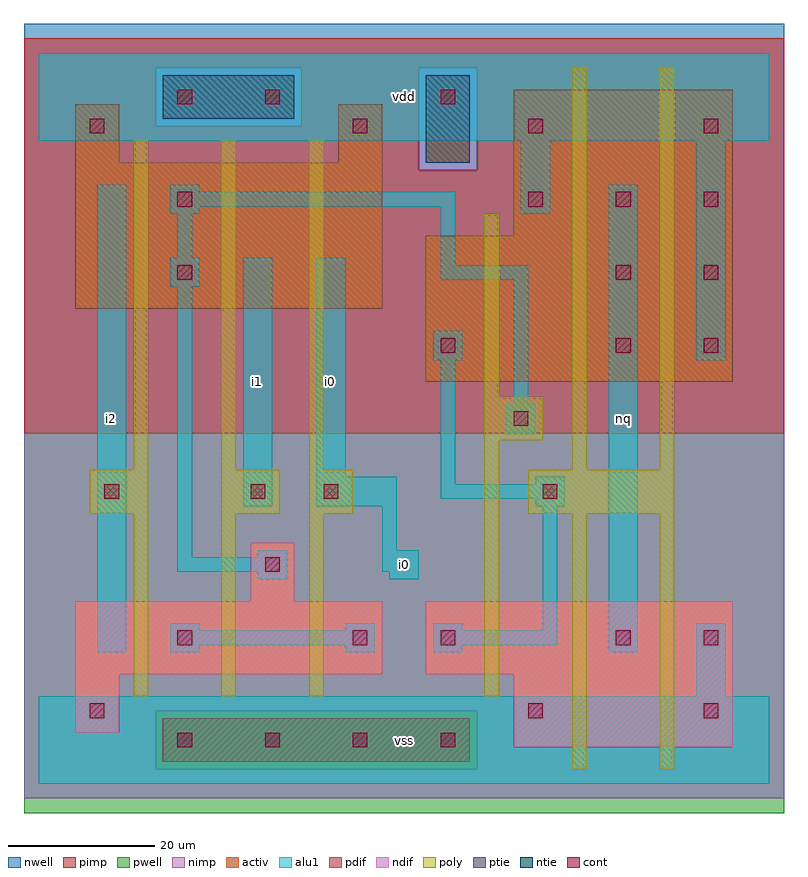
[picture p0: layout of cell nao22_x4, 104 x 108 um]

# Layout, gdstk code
import gdstk
lib = gdstk.Library(unit=1e-6, precision=1e-09)
def R(c, l, rs):  # rectangles x0, y0, x1, y1
    for r in rs: c.add(gdstk.rectangle(r[:2], r[2:], *l))
def A(c, l, x, y, w, h, nx, ny, dx, dy):  # array of equal rectangles
    R(c, l, [(x+i*dx, y+j*dy, x+i*dx+w, y+j*dy+h) for i in range(nx) for j in range(ny)])
ndif = (3, 0)
pdif = (4, 0)
ntie = (5, 0)
ptie = (6, 0)
cont = (25, 0)
pwell = (41, 0)
nwell = (42, 0)
activ = (43, 0)
pimp = (44, 0)
nimp = (45, 0)
poly = (46, 0)
alu1 = (49, 0)

nao22_x4 = lib.new_cell('nao22_x4')
R(nao22_x4, ndif, [(65,5,95,15), (5,7,11,15), (5,15,47,25), (53,15,95,25), (29,25,35,33)])
R(nao22_x4, pdif, [(53,55,95,75), (5,65,47,85), (65,75,95,95), (5,85,11,93), (41,85,47,93)])
R(nao22_x4, ntie, [(53,85,59,97), (17,91,35,97)])
R(nao22_x4, ptie, [(17,3,59,9)])
A(nao22_x4, cont, 19, 5, 2, 2, 4, 1, 12, 0)
A(nao22_x4, cont, 67, 79, 2, 2, 3, 1, 12, 0)
A(nao22_x4, cont, 43, 89, 2, 2, 3, 1, 24, 0)
R(nao22_x4, cont, [(7,9,9,11), (67,9,69,11), (91,9,93,11), (19,19,21,21), (43,19,45,21), (55,19,57,21), (79,19,81,21), (91,19,93,21), (31,29,33,31), (9,39,11,41), (29,39,31,41), (39,39,41,41), (69,39,71,41), (65,49,67,51), (55,59,57,61), (79,59,81,61), (91,59,93,61), (19,69,21,71), (79,69,81,71), (91,69,93,71), (19,79,21,81), (7,89,9,91), (19,93,21,95), (31,93,33,95), (55,93,57,95)])
R(nao22_x4, pwell, [(-2,-4,102,48)])
R(nao22_x4, nwell, [(-2,48,102,104)])
R(nao22_x4, activ, [(17,3,59,9), (65,5,95,15), (5,7,11,15), (5,15,47,25), (53,15,95,25), (29,25,35,33), (53,55,95,75), (5,65,47,85), (65,75,95,95), (5,85,11,93), (41,85,47,93), (53,85,59,97), (17,91,35,97)])
R(nao22_x4, pimp, [(16,2,60,10), (-2,48,102,84), (-2,84,52,90), (60,84,102,98), (-2,90,16,98), (36,90,52,98), (-2,98,102,102)])
R(nao22_x4, nimp, [(-2,-2,102,2), (-2,2,16,10), (60,2,102,10), (-2,10,102,48), (52,84,60,98), (16,90,36,98)])
A(nao22_x4, poly, 13, 12, 2, 25, 3, 1, 12, 0)
A(nao22_x4, poly, 13, 43, 2, 45, 3, 1, 12, 0)
R(nao22_x4, poly, [(73,2,75,37), (85,2,87,37), (61,12,63,47), (7,37,15,43), (25,37,33,43), (37,37,43,43), (67,37,87,43), (73,43,75,98), (85,43,87,98), (61,47,69,53), (61,53,63,78)])
R(nao22_x4, alu1, [(0,0,100,12), (90,12,94,22), (8,18,12,82), (18,18,22,19), (42,18,46,19), (54,18,58,19), (78,18,82,82), (18,19,46,21), (54,19,71,21), (18,21,22,22), (42,21,46,22), (54,21,58,22), (69,21,71,38), (30,28,34,29), (48,28,52,29), (19,29,34,31), (47,29,52,32), (19,31,21,68), (30,31,34,32), (47,32,49,38), (28,38,32,72), (38,38,49,42), (68,38,72,39), (55,39,72,41), (55,41,57,58), (68,41,72,42), (38,42,42,72), (64,48,68,52), (65,52,67,69), (54,58,58,62), (90,58,94,88), (18,68,22,72), (55,69,67,71), (55,71,57,79), (19,72,21,78), (18,78,22,79), (66,78,70,88), (18,79,57,81), (18,81,22,82), (0,88,100,100)])
nao22_x4.add(gdstk.Label('i2', (10,50), layer=49, texttype=0))
nao22_x4.add(gdstk.Label('i1', (30,55), layer=49, texttype=0))
nao22_x4.add(gdstk.Label('vss', (50,6), layer=49, texttype=0))
nao22_x4.add(gdstk.Label('i0', (50,30), layer=49, texttype=0))
nao22_x4.add(gdstk.Label('i0', (40,55), layer=49, texttype=0))
nao22_x4.add(gdstk.Label('vdd', (50,94), layer=49, texttype=0))
nao22_x4.add(gdstk.Label('nq', (80,50), layer=49, texttype=0))

lib.write_gds('nao22_x4.gds')
